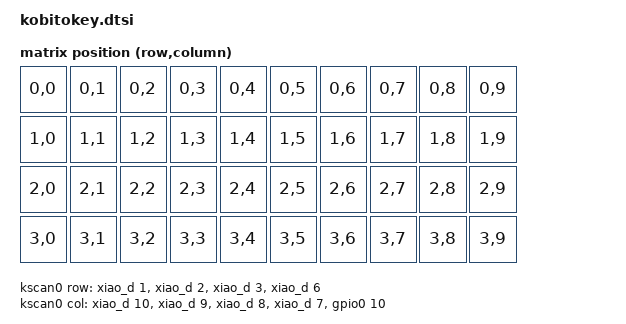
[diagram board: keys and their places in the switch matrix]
#include "KobitoKey-layouts.dtsi"

/ {
    kscan0: kscan0 {
        compatible = "zmk,kscan-gpio-matrix";
        diode-direction = "col2row";
        wakeup-source;
        row-gpios = <&xiao_d 1 (GPIO_ACTIVE_HIGH | GPIO_PULL_DOWN)>, 
                    <&xiao_d 2 (GPIO_ACTIVE_HIGH | GPIO_PULL_DOWN)>, 
                    <&xiao_d 3 (GPIO_ACTIVE_HIGH | GPIO_PULL_DOWN)>, 
                    <&xiao_d 6 (GPIO_ACTIVE_HIGH | GPIO_PULL_DOWN)>; 
        col-gpios = <&xiao_d 10 GPIO_ACTIVE_HIGH>, 
                    <&xiao_d 9 GPIO_ACTIVE_HIGH>, 
                    <&xiao_d 8 GPIO_ACTIVE_HIGH>, 
                    <&xiao_d 7 GPIO_ACTIVE_HIGH>, 
                    <&gpio0 10 GPIO_ACTIVE_HIGH>; 
    };

    default_transform: keymap_transform0 {
        compatible = "zmk,matrix-transform";
        rows = <4>;
        columns = <10>;
        map = <
            RC(0,0) RC(0,1) RC(0,2) RC(0,3) RC(0,4)   RC(0,5) RC(0,6) RC(0,7) RC(0,8) RC(0,9)
            RC(1,0) RC(1,1) RC(1,2) RC(1,3) RC(1,4)   RC(1,5) RC(1,6) RC(1,7) RC(1,8) RC(1,9)
            RC(2,0) RC(2,1) RC(2,2) RC(2,3) RC(2,4)   RC(2,5) RC(2,6) RC(2,7) RC(2,8) RC(2,9)
            RC(3,0) RC(3,1) RC(3,2) RC(3,3) RC(3,4)   RC(3,5) RC(3,6) RC(3,7) RC(3,8) RC(3,9)
        >;
    };

    /* 💡 ノード定義を簡素化 */
    split_inputs {
        compatible = "zmk,split-inputs";
    };

    /* 💡 外部から参照できるようにラベルだけを定義 */
    tb_right_split: &split_inputs {
        tb_right_split {
            compatible = "zmk,input-split";
        };
    };

    tb_right_listener: tb_right_listener {
        compatible = "zmk,input-listener";
        status = "disabled";
    };
};

/ {
    physical_layout0: physical_layout_0 {
        compatible = "zmk,physical-layout";
        display-name = "Default Layout";
        transform = <&default_transform>;
        kscan = <&kscan0>;
    };
    chosen {
        zmk,physical-layout = &physical_layout0;
    };
};

&uicr {
    nfct-pins-as-gpios;
};
